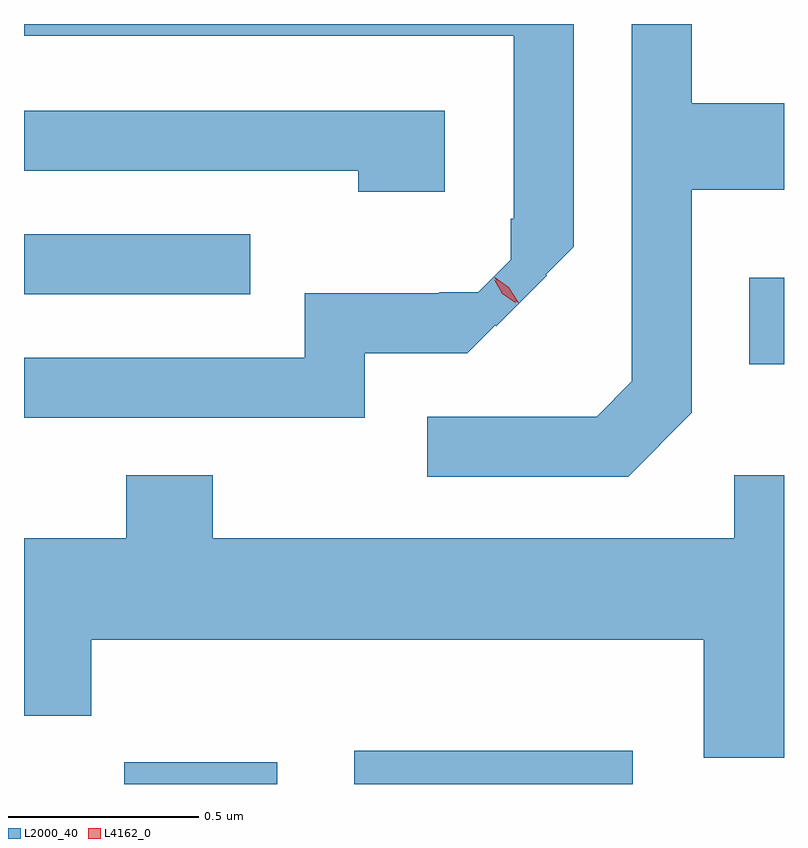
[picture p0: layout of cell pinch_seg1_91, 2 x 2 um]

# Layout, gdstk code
import gdstk
lib = gdstk.Library(unit=1e-6, precision=1e-09)
def R(c, l, rs):  # rectangles x0, y0, x1, y1
    for r in rs: c.add(gdstk.rectangle(r[:2], r[2:], *l))
def P(c, l, *ps):  # polygons
    for p in ps: c.add(gdstk.Polygon(p, *l))
L2000_40 = (2000, 40)
L4162_0 = (4162, 0)

pinch_seg1_91 = lib.new_cell('pinch_seg1_91')
R(pinch_seg1_91, L2000_40, [(1023.716,872.557,1024.119,872.614), (1024.321,872.557,1025.054,872.644), (1025.361,873.661,1025.452,873.889), (1023.452,873.846,1024.048,874.004)])
P(pinch_seg1_91, L2000_40, [(1025.209,873.534),(1025.209,874.121),(1025.452,874.121),(1025.452,874.349),(1025.209,874.349),(1025.209,874.557),(1025.051,874.557),(1025.051,873.617),(1024.959,873.524),(1024.513,873.524),(1024.513,873.366),(1025.042,873.366)],
  [(1024.349,873.691),(1024.619,873.691),(1024.692,873.764),(1024.695,873.762),(1024.828,873.895),(1024.826,873.898),(1024.899,873.971),(1024.899,874.557),(1023.452,874.557),(1023.452,874.526),(1024.741,874.526),(1024.741,874.045),(1024.733,874.045),(1024.733,873.936),(1024.648,873.851),(1024.545,873.851),(1024.545,873.849),(1024.191,873.849),(1024.191,873.679),(1023.452,873.679),(1023.452,873.521),(1024.349,873.521)],
  [(1024.559,874.329),(1023.452,874.329),(1023.452,874.171),(1024.331,874.171),(1024.331,874.116),(1024.559,874.116)],
  [(1025.452,873.369),(1025.321,873.369),(1025.321,873.204),(1023.949,873.204),(1023.949,873.369),(1023.721,873.369),(1023.721,873.204),(1023.452,873.204),(1023.452,872.736),(1023.629,872.736),(1023.629,872.936),(1025.241,872.936),(1025.241,872.626),(1025.452,872.626)])
P(pinch_seg1_91, L4162_0, [(1024.753,873.823),(1024.714,873.851),(1024.689,873.892),(1024.689,873.892),(1024.689,873.892),(1024.728,873.864),(1024.754,873.824),(1024.754,873.823)],
  [(1024.745,873.823),(1024.71,873.847),(1024.689,873.884),(1024.689,873.884),(1024.689,873.884),(1024.725,873.86),(1024.746,873.824),(1024.746,873.823)])

lib.write_gds('pinch_seg1_91.gds')
